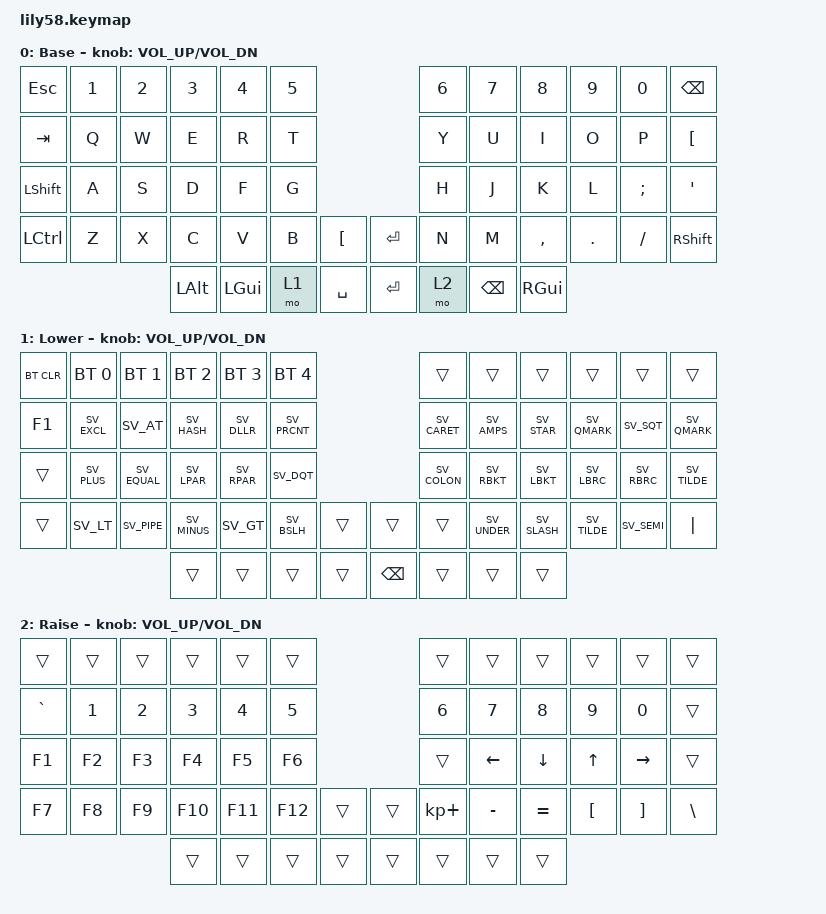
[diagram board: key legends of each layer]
/*
 * Copyright (c) 2020 The ZMK Contributors
 *
 * SPDX-License-Identifier: MIT
 */

#include <behaviors.dtsi>
#include <dt-bindings/zmk/bt.h>
#include <dt-bindings/zmk/keys.h>
#include "keys_sv.h"

/ {
    keymap {
        compatible = "zmk,keymap";

        default_layer {
            // ------------------------------------------------------------------------------------------------------------
            // |  ESC  |  1  |  2  |  3   |  4   |  5   |                   |  6   |  7    |  8    |  9   |   0   | BSPC  |
            // |  TAB  |  Q  |  W  |  E   |  R   |  T   |                   |  Y   |  U    |  I    |  O   |   P   |   -   |
            // |  CTRL |  A  |  S  |  D   |  F   |  G   |                   |  H   |  J    |  K    |  L   |   ;   |   '   |
            // | SHIFT |  Z  |  X  |  C   |  V   |  B   |  ENTER | | ENTER  |  N   |  M    |  ,    |  .   |   /   | SHIFT |
            //                     | ALT  | GUI  | LOWER|  SPACE |  | BSPC  | RAISE| BSPC  | GUI   |

            label = "Base";
            bindings = <
&kp ESC            &kp N1  &kp N2  &kp N3    &kp N4    &kp N5                         &kp N6  &kp N7    &kp N8     &kp N9   &kp N0    &kp BSPC
&kp TAB            &kp Q   &kp W   &kp E     &kp R     &kp T                          &kp Y   &kp U     &kp I      &kp O    &kp P     &kp LEFT_BRACKET
&kp LEFT_SHIFT     &kp A   &kp S   &kp D     &kp F     &kp G                          &kp H   &kp J     &kp K      &kp L    &kp SEMI  &kp SQT
&kp LEFT_CONTROL  &kp Z   &kp X   &kp C     &kp V     &kp B   &kp LBKT     &kp RET   &kp N   &kp M     &kp COMMA  &kp DOT  &kp FSLH  &kp RSHFT
                                   &kp LALT  &kp LGUI  &mo 1   &kp SPACE    &kp RET   &mo 2   &kp BSPC  &kp RGUI
            >;

            sensor-bindings = <&inc_dec_kp C_VOL_UP C_VOL_DN>;
        };

        lower_layer {
            // ------------------------------------------------------------------------------------------------------------
            // | BTCLR | BT1 | BT2 |  BT3 |  BT4 |  BT5 |                   |      |       |       |      |       |       |
            // |       |  !  |  @  |  #   |  $   |  %   |                   |  ^   |   &   |  *    |  ?   |   '   |   ?   |
            // |       |  +  |  =  |  (   |  )   |  "   |                   |  :   |   ]   |  [    |  }   |   {   |       |
            // |       |  <  |  |  |   -  |  >   |   \  |        |  |       |      |   _   |  /    |  ½   |   }   |   ;   |
            //                     |      |      |      |        |  |       |      |       |       |

            label = "Lower";
            bindings = <
&bt BT_CLR   &bt BT_SEL 0  &bt BT_SEL 1  &bt BT_SEL 2  &bt BT_SEL 3  &bt BT_SEL 4                         &trans        &trans        &trans          &trans         &trans       &trans
&kp F1       &kp SV_EXCL   &kp SV_AT     &kp SV_HASH   &kp SV_DLLR   &kp SV_PRCNT                         &kp SV_CARET  &kp SV_AMPS   &kp SV_STAR     &kp SV_QMARK   &kp SV_SQT   &kp SV_QMARK
&trans       &kp SV_PLUS   &kp SV_EQUAL  &kp SV_LPAR   &kp SV_RPAR   &kp SV_DQT                           &kp SV_COLON  &kp SV_RBKT   &kp SV_LBKT     &kp SV_LBRC    &kp SV_RBRC  &kp SV_TILDE
&trans       &kp SV_LT     &kp SV_PIPE   &kp SV_MINUS  &kp SV_GT     &kp SV_BSLH   &trans      &trans     &trans        &kp SV_UNDER   &kp SV_SLASH   &kp SV_TILDE   &kp SV_SEMI  &kp PIPE
                                         &trans        &trans        &trans        &trans      &kp BSPC   &trans        &trans        &trans
            >;

            sensor-bindings = <&inc_dec_kp C_VOL_UP C_VOL_DN>;
        };

        raise_layer {
            // ------------------------------------------------------------------------------------------------------------
            // |       |     |     |      |      |      |                   |      |       |       |      |       |       |
            // |   `   |  1  |  2  |  3   |  4   |  5   |                   |  6   |   7   |   8   |  9   |   0   |       |
            // |   F1  |  F2 |  F3 |  F4  |  F5  |  F6  |                   |      |   <-  |   v   |  ^   |  ->   |       |
            // |   F7  |  F8 |  F9 |  F10 |  F11 |  F12 |        |  |       |  +   |   -   |   =   |  [   |   ]   |   \   |
            //                     |      |      |      |        |  |       |      |       |       |

            label = "Raise";
            bindings = <
&trans     &trans  &trans  &trans   &trans   &trans                     &trans       &trans     &trans     &trans    &trans     &trans
&kp GRAVE  &kp N1  &kp N2  &kp N3   &kp N4   &kp N5                     &kp N6       &kp N7     &kp N8     &kp N9    &kp N0     &trans
&kp F1     &kp F2  &kp F3  &kp F4   &kp F5   &kp F6                     &trans       &kp LEFT   &kp DOWN   &kp UP    &kp RIGHT  &trans
&kp F7     &kp F8  &kp F9  &kp F10  &kp F11  &kp F12  &trans    &trans  &kp KP_PLUS  &kp MINUS  &kp EQUAL  &kp LBKT  &kp RBKT   &kp BSLH
                           &trans   &trans   &trans   &trans    &trans  &trans       &trans     &trans
            >;

            sensor-bindings = <&inc_dec_kp C_VOL_UP C_VOL_DN>;
        };
    };
};
